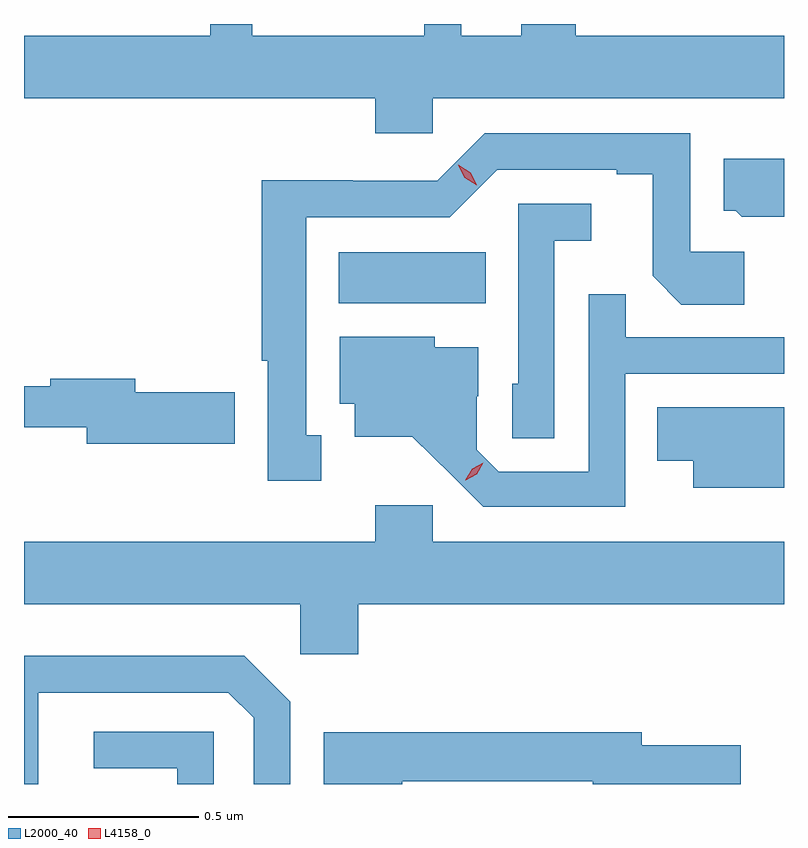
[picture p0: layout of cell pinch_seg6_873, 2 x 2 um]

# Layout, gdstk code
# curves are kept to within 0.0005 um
import gdstk
lib = gdstk.Library(unit=1e-6, precision=1e-09)
def R(c, l, rs):  # rectangles x0, y0, x1, y1
    for r in rs: c.add(gdstk.rectangle(r[:2], r[2:], *l))
def P(c, l, *ps):  # polygons
    for p in ps: c.add(gdstk.Polygon(p, *l))
L2000_40 = (2000, 40)
L4158_0 = (4158, 0)

pinch_seg6_873 = lib.new_cell('pinch_seg6_873')
R(pinch_seg6_873, L2000_40, [(124.271,978.764,124.658,978.898)])
P(pinch_seg6_873, L2000_40, [(124.518,979.304),(125.443,979.304),(125.443,979.468),(124.895,979.468),(124.895,979.499),(124.751,979.499),(124.751,979.468),(124.594,979.468),(124.594,979.499),(124.496,979.499),(124.496,979.468),(124.043,979.468),(124.043,979.499),(123.933,979.499),(123.933,979.468),(123.443,979.468),(123.443,979.304),(124.367,979.304),(124.367,979.211),(124.518,979.211)],
  [(124.225,978.417),(124.186,978.417),(124.186,978.99),(124.563,978.99),(124.689,979.116),(125.003,979.116),(125.003,979.104),(125.097,979.104),(125.097,978.836),(125.173,978.76),(125.338,978.76),(125.338,978.9),(125.196,978.9),(125.196,979.212),(124.656,979.212),(124.53,979.086),(124.308,979.086),(124.308,979.088),(124.068,979.088),(124.068,978.613),(124.085,978.613),(124.085,978.297),(124.225,978.297)],
  [(125.443,979.144),(125.285,979.144),(125.285,979.008),(125.316,979.008),(125.332,978.992),(125.443,978.992)],
  [(124.839,978.929),(124.936,978.929),(124.936,979.026),(124.743,979.026),(124.743,978.552),(124.728,978.552),(124.728,978.409),(124.839,978.409)],
  [(125.025,978.579),(125.443,978.579),(125.443,978.675),(125.027,978.675),(125.027,978.788),(124.929,978.788),(124.929,978.321),(124.692,978.321),(124.635,978.378),(124.635,978.52),(124.639,978.52),(124.639,978.649),(124.524,978.649),(124.524,978.676),(124.274,978.676),(124.274,978.5),(124.313,978.5),(124.313,978.413),(124.465,978.413),(124.652,978.228),(125.025,978.228)],
  [(123.997,978.53),(123.736,978.53),(123.736,978.566),(123.512,978.566),(123.512,978.546),(123.443,978.546),(123.443,978.438),(123.608,978.438),(123.608,978.395),(123.997,978.395)],
  [(125.443,978.49),(125.11,978.49),(125.11,978.35),(125.204,978.35),(125.204,978.278),(125.443,978.278)],
  [(124.322,977.972),(125.443,977.972),(125.443,978.136),(124.518,978.136),(124.518,978.232),(124.367,978.232),(124.367,978.136),(123.443,978.136),(123.443,977.972),(124.17,977.972),(124.17,977.841),(124.322,977.841)],
  [(123.48,977.539),(123.481,977.539),(123.481,977.739),(123.981,977.739),(124.047,977.673),(124.047,977.499),(124.143,977.499),(124.143,977.715),(124.022,977.836),(123.443,977.836),(123.443,977.499),(123.48,977.499)],
  [(123.942,977.637),(123.627,977.637),(123.627,977.541),(123.846,977.541),(123.846,977.499),(123.942,977.499)],
  [(124.439,977.506),(124.94,977.506),(124.94,977.499),(125.329,977.499),(125.329,977.601),(125.068,977.601),(125.068,977.635),(124.232,977.635),(124.232,977.499),(124.439,977.499)])
P(pinch_seg6_873, L4158_0, [(124.604,978.299),(124.604,978.299),(124.622,978.329),(124.652,978.344),(124.652,978.344),(124.652,978.344),(124.635,978.314),(124.605,978.299)],
  [(124.634,979.075),(124.603,979.095),(124.586,979.127),(124.586,979.128),(124.586,979.128),(124.618,979.108),(124.635,979.076),(124.635,979.075)])

lib.write_gds('pinch_seg6_873.gds')
